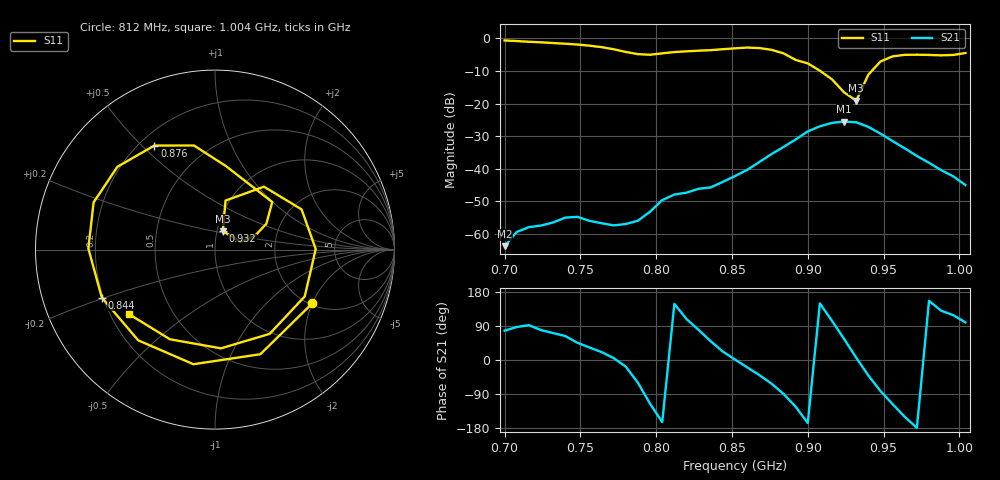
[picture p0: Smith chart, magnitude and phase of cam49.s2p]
# Hz S RI R 50
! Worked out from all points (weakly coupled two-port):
!   39 points, 700 MHz to 1.004 GHz, reference 50 ohm
!   highest |S21| = -25.49 dB at 924 MHz (marker M1); lowest = -63.7 dB at 700 MHz (marker M2)
!   lowest |S11| = -19.1 dB at 932 MHz (marker M3), VSWR 1.25, Z = 53.4 + j11.1 ohm
!   |S11| at or under -10 dB: 908.3 MHz to 942.1 MHz (33.81 MHz wide, 3.65 % of centre)
!   S12 and S22 are empty: the file has one direction only
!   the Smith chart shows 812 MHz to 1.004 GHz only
!   S11 on the Smith chart (normalised r, x): 812 MHz: 2.05, -2.00; 844 MHz: 0.19, -0.20; 876 MHz: 0.26, +0.55; 932 MHz: 1.07, +0.22; 1.004 GHz: 0.28, -0.31
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7e8  0.768 0.5293  0.000143 0.000636  0 0  0 0
7.24e8  0.8347 -0.2576  0.000258 0.00132  0 0  0 0
7.4e8  0.4464 -0.7013  0.000802 0.00159  0 0  0 0
7.56e8  -0.1957 -0.7503  0.00134 0.000867  0 0  0 0
7.72e8  -0.6555 -0.1914  0.00135 0.000117  0 0  0 0
7.8e8  -0.5762 0.233  0.00136 -0.000433  0 0  0 0
7.88e8  -0.2247 0.5293  0.000797 -0.00139  0 0  0 0
7.96e8  0.255 0.5015  -0.000955 -0.00199  0 0  0 0
8.04e8  0.5734 0.1487  -0.00319 -0.000917  0 0  0 0
8.12e8  0.5415 -0.3  -0.00343 0.00214  0 0  0 0
8.28e8  -0.1204 -0.6386  0.000908 0.00486  0 0  0 0
8.44e8  -0.6306 -0.267  0.00584 0.00239  0 0  0 0
8.52e8  -0.7056 0.0062  0.00775 0.000173  0 0  0 0
8.76e8  -0.3375 0.5798  0.00789 -0.0148  0 0  0 0
9e8  0.319 0.2651  -0.0365 -0.00894  0 0  0 0
9.08e8  0.2861 0.1438  -0.0387 0.0229  0 0  0 0
9.24e8  0.1427 0.0428  0.0302 0.0438  0 0  0 0
9.32e8  0.0437 0.1025  0.0515 0.00533  0 0  0 0
9.4e8  0.0588 0.273  0.0333 -0.0288  0 0  0 0
9.56e8  0.4822 0.2242  -0.0119 -0.0238  0 0  0 0
9.8e8  0.3047 -0.4694  -0.0113 0.00503  0 0  0 0
1.004e9  -0.4776 -0.3606  -0.000919 0.00558  0 0  0 0
